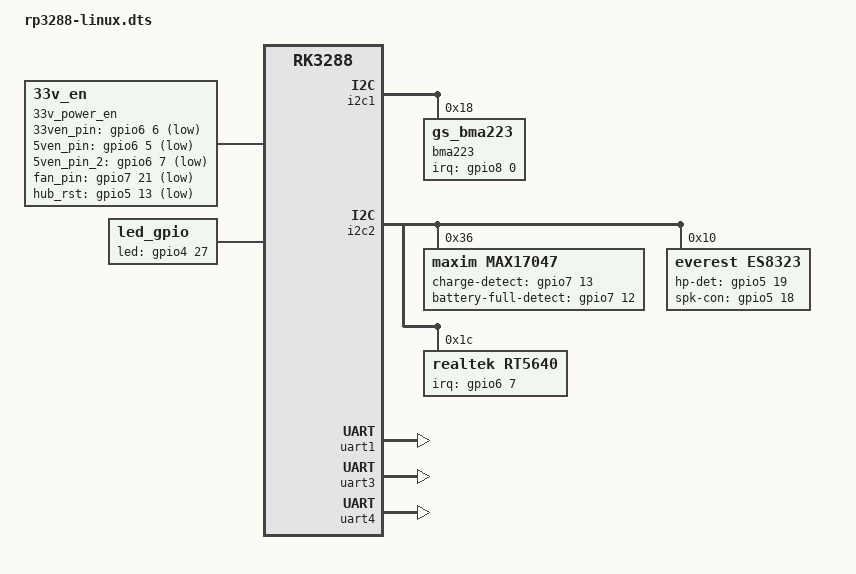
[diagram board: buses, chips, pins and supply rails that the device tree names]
#include "rk3288-evb-act8846.dtsi"


//#include "rp-lcd-hdmi.dtsi"
#include "rp-lcd-mipi-5-720-1280.dtsi"
//#include "rp-lcd-mipi-7-800-1280.dtsi"
//#include "rp-lcd-mipi-10-1920-1200.dtsi"
//#include "rp-lcd-edp-13.3-1920-1080.dtsi"
//#include "rp-lcd-lvds-10-1024-600.dtsi"
//#include "rp-lcd-lvds-21.5-1920-1080.dtsi"
//#include "rp-lcd-lvds-10-1280-800.dtsi"
//#include "rp-lcd-mipi-10-800-1280.dtsi"

//#include "rp-lcd-lvds-21.5-1920-1080.dtsi"

/ {
	compatible = "rockchip,king-rp3288-act8846", "rockchip,rk3288";

        33v_power_en {
                compatible = "33v_en";
                33ven_pin =  <&gpio6 6  1>;
                5ven_pin =   <&gpio6 5  1>;
                5ven_pin_2 = <&gpio6 7  1>;
                fan_pin =    <&gpio7 21 1>;
                hub_rst =    <&gpio5 13 1>;
                rp_not_deep_leep = <0>;
                status = "okay";
        };


        led_gpio{
                compatible = "led_gpio";
                status = "okay";
                led_gpio =<&gpio4 27 0>;
        };


        rp_gpio{
                status = "okay";
                compatible = "rp_gpio";
                base_value = <0>;
                gpio1 {
                        gpio_num = <&gpio5 16 GPIO_ACTIVE_HIGH>;
                        gpio_function = <0>;            //0:output 1:input
                        //gpio_event = <KEY_F14>;
                        //send_mode = <0>;  
                };
                gpio2 {
                        gpio_num = <&gpio8 3 GPIO_ACTIVE_HIGH>;
                        gpio_function = <0>;            //0:output 1:input
                        //gpio_event = <KEY_F14>;
                        //send_mode = <0>;  
                };
                gpio3 {
                        gpio_num = <&gpio7 4 GPIO_ACTIVE_LOW>;
                        gpio_function = <0>;            //0:output 1:input
                        //gpio_event = <KEY_F14>;
                        //send_mode = <0>;  
                };
                gpio4 {
                        gpio_num = <&gpio5 17 GPIO_ACTIVE_HIGH>;
                        gpio_function = <0>;            //0:output 1:input
                        //gpio_event = <KEY_F14>;
                        //send_mode = <0>; 
                };

                gpio5 {
                        gpio_num = <&gpio5 11 GPIO_ACTIVE_HIGH>;
                        gpio_function = <0>;            //0:output 1:input
                        //gpio_event = <KEY_F14>;
                        //send_mode = <0>; 
                };

                gpio6 {
                        gpio_num = <&gpio5 10 GPIO_ACTIVE_HIGH>;
                        gpio_function = <0>;            //0:output 1:input
                        //gpio_event = <KEY_F14>;
                        //send_mode = <0>; 
                };

                gpio7 {
                        gpio_num = <&gpio0 11 GPIO_ACTIVE_HIGH>;
                        gpio_function = <0>;            //0:output 1:input
                        //gpio_event = <KEY_F14>;
                        //send_mode = <0>; 
                };

                gpio8 {
                        gpio_num = <&gpio5 12 GPIO_ACTIVE_HIGH>;
                        gpio_function = <0>;            //0:output 1:input
                        //gpio_event = <KEY_F14>;
                        //send_mode = <0>; 
                };

        };


        es8323-sound {
                status = "okay";
                compatible = "simple-audio-card";
                simple-audio-card,format = "i2s";
                simple-audio-card,name = "es8323-codec";
                simple-audio-card,mclk-fs = <512>;
                simple-audio-card,widgets =
                        "Microphone", "Microphone Jack",
                        "Headphone", "Headphone Jack";
                simple-audio-card,routing =
                        "MIC1", "Microphone Jack",
                        "MIC2", "Microphone Jack",
                        "Microphone Jack", "micbias1",
                        "Headphone Jack", "HPOL",
                        "Headphone Jack", "HPOR";

                simple-audio-card,cpu {
                        sound-dai = <&i2s>;
                };
                simple-audio-card,codec {
                        sound-dai = <&es8323>;
                };
        };

   	rt5640-sound {
                status = "okay";
                compatible = "simple-audio-card";
                simple-audio-card,format = "i2s";
                simple-audio-card,name = "rockchip,rt5640-codec";
                simple-audio-card,mclk-fs = <512>;
                simple-audio-card,widgets =
                        "Microphone", "Microphone Jack",
                        "Headphone", "Headphone Jack";
                simple-audio-card,routing =
                        "MIC1", "Microphone Jack",
                        "MIC2", "Microphone Jack",
                        "Microphone Jack", "micbias1",
                        "Headphone Jack", "HPOL",
                        "Headphone Jack", "HPOR";

                simple-audio-card,dai-link@0 {
                        format = "i2s";
                        cpu {
                                sound-dai = <&i2s>;
                        };

                        codec {
                                sound-dai = <&rt5640>;
                        };
                };

                simple-audio-card,dai-link@1 {
                        format = "i2s";
                        cpu {
                                sound-dai = <&i2s>;
                        };

                        codec {
                                sound-dai = <&hdmi>;
                        };
                };
        };
};



&i2c1 {
        status = "okay";

        bma223: bma223@18{
                status = "okay";
                compatible = "gs_bma223";
                reg = <0x18>;
                type = <2>;
                irq-gpio = <&gpio8 0 IRQ_TYPE_EDGE_RISING>;
                irq_enable = <0>;
                poll_delay_ms = <200>;
                layout = <8>;
        };

};

&i2c2 {
        status = "okay";
	
	max17047@36 {
		status = "okay";
                compatible = "maxim,max17047";
                reg = <0x36>;
                charge-detect-gpio = <&gpio7 13 GPIO_ACTIVE_HIGH>;
                battery-full-detect-gpio = <&gpio7 12 GPIO_ACTIVE_HIGH>;
         };
        es8323: es8323@10 {
                compatible = "everest,es8323";
                reg = <0x10>;
                hp-det-gpio = <&gpio5 19 GPIO_ACTIVE_HIGH>;
                spk-con-gpio = <&gpio5 18 GPIO_ACTIVE_HIGH>;
                clock-names = "mclk";
                clocks = <&cru SCLK_I2S0_OUT>;
                #sound-dai-cells = <0>;
        };

        rt5640: rt5640@1c {
                #sound-dai-cells = <0>;
                compatible = "realtek,rt5640";
                reg = <0x1c>;
                clocks = <&cru SCLK_I2S0_OUT>;
                clock-names = "mclk";
                interrupt-parent = <&gpio6>;
                interrupts = <7 IRQ_TYPE_EDGE_FALLING>;
                pinctrl-names = "default";
                pinctrl-0 = <&i2s0_mclk>;
        };
};




&uart1 {
	status = "okay";
};

&uart3 {
	status = "okay";
};

&uart4 {
	status = "okay";
};

&spi1 {
	status = "disabled";
};


&pinctrl{
	pwr_5v {
			pwr_en: pwr-en {
				rockchip,pins = <6 5 RK_FUNC_GPIO &pcfg_pull_up>,
						<6 6 RK_FUNC_GPIO &pcfg_pull_up>;
			};
	};
};

&dsi0 {
              /////for pro3288 reelectrify cannot display
        pinctrl-names = "default";
        pinctrl-0 = <&pwr_en>;
};

